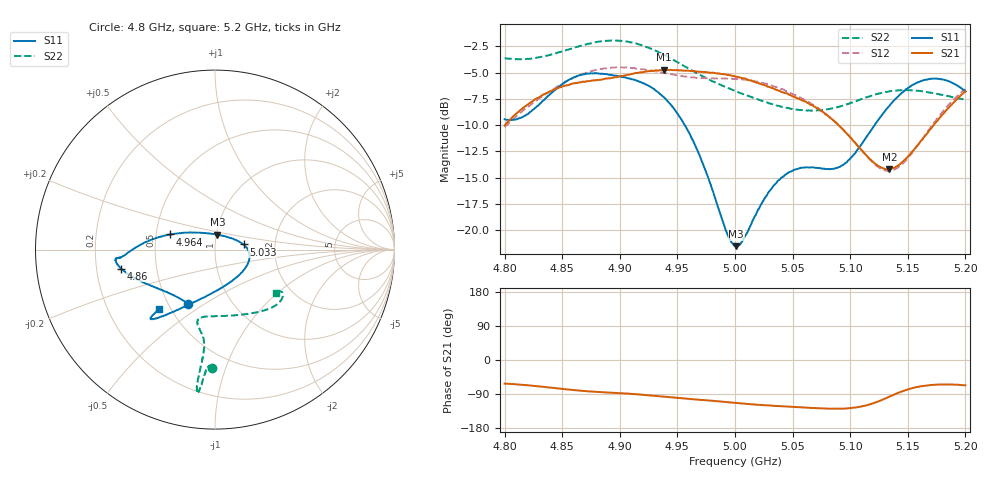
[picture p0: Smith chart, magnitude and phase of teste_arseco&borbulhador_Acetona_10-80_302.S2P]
! Network Analyzer HP8722D
! Hewlett-Packard
! Data name: Linha & Wilkinson
! Saver's name: Rodrigo Anjos
! Comments: Teste da utilização de aquisição
! continua pelo VNA HP8722D
! Time and date: 17/4/2025 16:52
!  Frequency  S11  S21  S12  S22
# HZ  S  MA R 50
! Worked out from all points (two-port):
!   401 points, 4.8 GHz to 5.2 GHz, reference 50 ohm
!   highest |S21| = -4.73 dB at 4.938 GHz (marker M1); lowest = -14.2 dB at 5.134 GHz (marker M2)
!   |S21| within 3 dB of the highest: 4.824 GHz to 5.06 GHz (235.7 MHz wide, 4.77 % of centre); 5.19084 GHz to end of sweep
!   lowest |S11| = -21.5 dB at 5.001 GHz (marker M3), VSWR 1.18, Z = 50.7 + j8.45 ohm
!   |S11| at or under -10 dB: 4.956 GHz to 5.121 GHz (164.9 MHz wide, 3.27 % of centre)
!   |S22| runs from -8.6 to -1.9 dB; largest |S21 - S12| = 0.87
!   S11 on the Smith chart (normalised r, x): 4.8 GHz: 0.63, -0.42; 4.86 GHz: 0.31, -0.09; 4.964 GHz: 0.59, +0.11; 5.033 GHz: 1.38, +0.08; 5.2 GHz: 0.43, -0.36
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4.8e9  0.3369 -116.9  0.3145 -62.3  0.3095 -176.6  0.6579 -91.4
4.818e9  0.3511 -136.0  0.3883 -66.2  0.3786 -176.1  0.6508 -93.0
4.86e9  0.5336 -168.6  0.5002 -79.3  0.5313 -179.5  0.7368 -95.4
4.867e9  0.549 -171.2  0.5072 -81.3  0.552 179.2  0.7561 -95.7
4.9e9  0.5393 -175.0  0.5386 -87.5  0.5945 173.3  0.7955 -97.1
4.934e9  0.4494 179.2  0.5753 -95.7  0.5679 170.1  0.7013 -97.4
4.938e9  0.4301 177.4  0.5798 -96.7  0.5598 170.1  0.6853 -97.2
4.964e9  0.2637 161.4  0.5714 -103.6  0.5336 172.0  0.57 -96.3
4.993e9  0.09684 111.4  0.5482 -111.1  0.526 174.1  0.4783 -98.8
5e9  0.08455 84.5  0.5382 -113.2  0.5241 174.2  0.4598 -100.2
5.001e9  0.08392 80.5  0.5373 -113.0  0.525 174.3  0.4584 -100.4
5.006e9  0.0881 61.2  0.5287 -114.6  0.5225 174.2  0.4465 -101.4
5.033e9  0.1615 10.3  0.4733 -120.7  0.4839 172.8  0.3965 -103.3
5.049e9  0.1902 -4.9  0.4359 -123.6  0.4466 172.4  0.3775 -98.6
5.067e9  0.199 -24.3  0.3936 -126.5  0.3972 172.1  0.3708 -88.3
5.095e9  0.2069 -72.7  0.2957 -128.4  0.2968 174.6  0.3931 -66.7
5.121e9  0.3141 -111.7  0.2082 -113.3  0.2061 -168.2  0.44 -49.5
5.134e9  0.391 -121.5  0.1951 -96.7  0.1914 -149.8  0.4574 -43.3
5.146e9  0.4558 -127.0  0.2127 -81.7  0.2081 -132.4  0.4638 -38.8
5.167e9  0.5205 -132.1  0.2892 -67.1  0.2936 -113.5  0.4535 -33.6
5.184e9  0.5145 -133.4  0.3756 -64.6  0.3871 -108.8  0.4354 -32.4
5.2e9  0.457 -133.3  0.4575 -66.9  0.4695 -109.1  0.4173 -35.0
